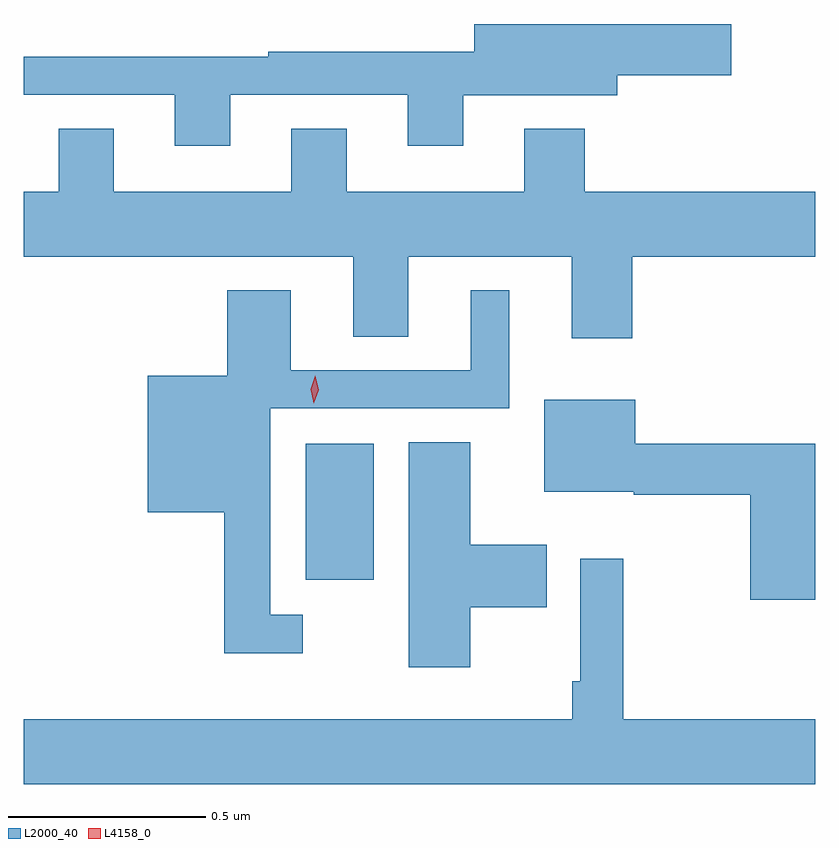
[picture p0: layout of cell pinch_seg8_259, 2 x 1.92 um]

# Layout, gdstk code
import gdstk
lib = gdstk.Library(unit=1e-6, precision=1e-09)
def R(c, l, rs):  # rectangles x0, y0, x1, y1
    for r in rs: c.add(gdstk.rectangle(r[:2], r[2:], *l))
def P(c, l, *ps):  # polygons
    for p in ps: c.add(gdstk.Polygon(p, *l))
L2000_40 = (2000, 40)
L4158_0 = (4158, 0)

pinch_seg8_259 = lib.new_cell('pinch_seg8_259')
R(pinch_seg8_259, L2000_40, [(867.287,1122.344,867.46,1122.688)])
P(pinch_seg8_259, L2000_40, [(867.097,1123.569),(867.545,1123.569),(867.545,1123.44),(867.685,1123.44),(867.685,1123.568),(868.075,1123.568),(868.075,1123.618),(868.363,1123.618),(868.363,1123.748),(867.713,1123.748),(867.713,1123.678),(867.193,1123.678),(867.193,1123.665),(866.575,1123.665),(866.575,1123.569),(866.957,1123.569),(866.957,1123.44),(867.097,1123.44)],
  [(868.112,1123.16),(868.575,1123.16),(868.575,1123.324),(867.992,1123.324),(867.992,1123.483),(867.839,1123.483),(867.839,1123.324),(867.391,1123.324),(867.391,1123.484),(867.251,1123.484),(867.251,1123.324),(866.803,1123.324),(866.803,1123.484),(866.663,1123.484),(866.663,1123.324),(866.575,1123.324),(866.575,1123.16),(867.407,1123.16),(867.407,1122.958),(867.547,1122.958),(867.547,1123.16),(867.959,1123.16),(867.959,1122.954),(868.112,1122.954)],
  [(867.28,1122.255),(867.198,1122.255),(867.198,1122.777),(867.802,1122.777),(867.802,1123.075),(867.704,1123.075),(867.704,1122.873),(867.25,1122.873),(867.25,1123.075),(867.089,1123.075),(867.089,1122.859),(866.888,1122.859),(866.888,1122.515),(867.082,1122.515),(867.082,1122.158),(867.28,1122.158)],
  [(868.575,1122.688),(868.12,1122.688),(868.12,1122.799),(867.89,1122.799),(867.89,1122.566),(868.116,1122.566),(868.116,1122.559),(868.411,1122.559),(868.411,1122.294),(868.575,1122.294)],
  [(867.703,1122.275),(867.896,1122.275),(867.896,1122.433),(867.703,1122.433),(867.703,1122.692),(867.548,1122.692),(867.548,1122.123),(867.703,1122.123)],
  [(868.575,1121.992),(868.09,1121.992),(868.09,1122.397),(867.981,1122.397),(867.981,1122.088),(867.961,1122.088),(867.961,1121.992),(866.575,1121.992),(866.575,1121.828),(868.575,1121.828)])
P(pinch_seg8_259, L4158_0, [(867.308,1122.79),(867.308,1122.79),(867.3,1122.825),(867.311,1122.86),(867.311,1122.86),(867.312,1122.86),(867.32,1122.824),(867.308,1122.79)])

lib.write_gds('pinch_seg8_259.gds')
